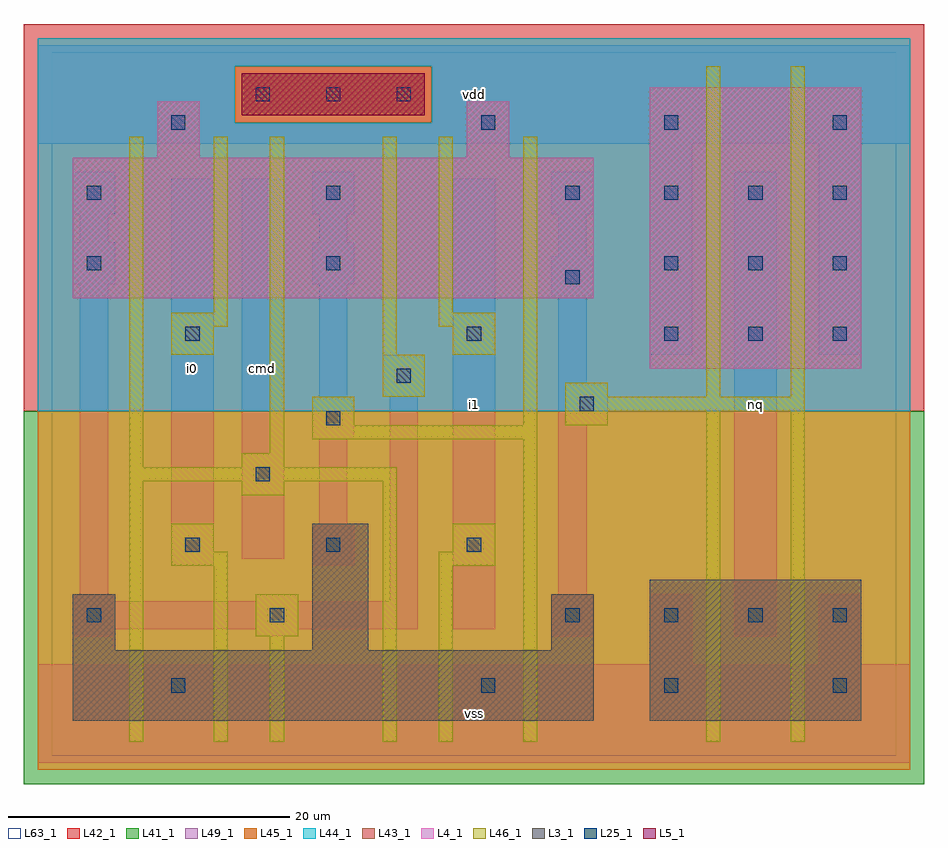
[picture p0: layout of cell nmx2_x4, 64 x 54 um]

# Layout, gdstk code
import gdstk
lib = gdstk.Library(unit=1e-6, precision=1e-09)
def R(c, l, rs):  # rectangles x0, y0, x1, y1
    for r in rs: c.add(gdstk.rectangle(r[:2], r[2:], *l))
def A(c, l, x, y, w, h, nx, ny, dx, dy):  # array of equal rectangles
    R(c, l, [(x+i*dx, y+j*dy, x+i*dx+w, y+j*dy+h) for i in range(nx) for j in range(ny)])
L3_1 = (3, 1)
L4_1 = (4, 1)
L5_1 = (5, 1)
L25_1 = (25, 1)
L41_1 = (41, 1)
L42_1 = (42, 1)
L43_1 = (43, 1)
L44_1 = (44, 1)
L45_1 = (45, 1)
L46_1 = (46, 1)
L49_1 = (49, 1)
L63_1 = (63, 1)

nmx2_x4 = lib.new_cell('nmx2_x4')
R(nmx2_x4, L3_1, [(1.5,2.5,38.5,7.5), (42.5,2.5,57.5,12.5), (1.5,7.5,4.5,11.5), (18.5,7.5,22.5,16.5), (35.5,7.5,38.5,11.5)])
R(nmx2_x4, L4_1, [(42.5,27.5,57.5,47.5), (1.5,32.5,38.5,42.5), (7.5,42.5,10.5,46.5), (29.5,42.5,32.5,46.5)])
R(nmx2_x4, L5_1, [(13.5,45.5,26.5,48.5)])
A(nmx2_x4, L25_1, 43.5, 9.5, 1, 1, 3, 2, 6, 20)
A(nmx2_x4, L25_1, 9.5, 14.5, 1, 1, 3, 1, 10, 0)
A(nmx2_x4, L25_1, 43.5, 34.5, 1, 1, 3, 2, 6, 5)
A(nmx2_x4, L25_1, 2.5, 39.5, 1, 1, 3, 1, 17, 0)
A(nmx2_x4, L25_1, 14.5, 46.5, 1, 1, 3, 1, 5, 0)
R(nmx2_x4, L25_1, [(8.5,4.5,9.5,5.5), (30.5,4.5,31.5,5.5), (43.5,4.5,44.5,5.5), (55.5,4.5,56.5,5.5), (2.5,9.5,3.5,10.5), (15.5,9.5,16.5,10.5), (36.5,9.5,37.5,10.5), (14.5,19.5,15.5,20.5), (19.5,23.5,20.5,24.5), (37.5,24.5,38.5,25.5), (24.5,26.5,25.5,27.5), (9.5,29.5,10.5,30.5), (29.5,29.5,30.5,30.5), (36.5,33.5,37.5,34.5), (2.5,34.5,3.5,35.5), (19.5,34.5,20.5,35.5), (8.5,44.5,9.5,45.5), (30.5,44.5,31.5,45.5), (43.5,44.5,44.5,45.5), (55.5,44.5,56.5,45.5)])
R(nmx2_x4, L41_1, [(-2,-2,62,24.5)])
R(nmx2_x4, L42_1, [(-2,24.5,62,52)])
R(nmx2_x4, L43_1, [(1.5,2.5,38.5,7.5), (42.5,2.5,57.5,12.5), (1.5,7.5,4.5,11.5), (18.5,7.5,22.5,16.5), (35.5,7.5,38.5,11.5), (42.5,27.5,57.5,47.5), (1.5,32.5,38.5,42.5), (7.5,42.5,10.5,46.5), (29.5,42.5,32.5,46.5), (13.5,45.5,26.5,48.5)])
R(nmx2_x4, L44_1, [(-1,24.5,61,45), (-1,45,13,49), (27,45,61,49), (-1,49,61,51)])
R(nmx2_x4, L45_1, [(-1,-1,61,24.5), (13,45,27,49)])
R(nmx2_x4, L46_1, [(5.5,1,6.5,19.5), (11.5,1,12.5,13.5), (15.5,1,16.5,8.5), (23.5,1,24.5,19.5), (27.5,1,28.5,13.5), (33.5,1,34.5,22.5), (46.5,1,47.5,24.5), (52.5,1,53.5,24.5), (14.5,8.5,17.5,11.5), (8.5,13.5,12.5,14.5), (27.5,13.5,31.5,14.5), (8.5,14.5,11.5,16.5), (28.5,14.5,31.5,16.5), (13.5,18.5,16.5,19.5), (5.5,19.5,24.5,20.5), (5.5,20.5,6.5,44), (13.5,20.5,16.5,21.5), (15.5,21.5,16.5,44), (18.5,22.5,34.5,23.5), (18.5,23.5,21.5,25.5), (33.5,23.5,34.5,44), (36.5,23.5,39.5,24.5), (36.5,24.5,53.5,25.5), (23.5,25.5,26.5,28.5), (36.5,25.5,39.5,26.5), (46.5,25.5,47.5,49), (52.5,25.5,53.5,49), (8.5,28.5,11.5,30.5), (23.5,28.5,24.5,44), (28.5,28.5,31.5,30.5), (8.5,30.5,12.5,31.5), (27.5,30.5,31.5,31.5), (11.5,31.5,12.5,44), (27.5,31.5,28.5,44)])
A(nmx2_x4, L49_1, 1.5, 38.5, 3, 3, 3, 1, 17, 0)
R(nmx2_x4, L49_1, [(-1,-0.5,61,6.5), (42.5,6.5,45.5,11.5), (54.5,6.5,57.5,11.5), (1.5,8.5,4.5,9), (14.5,8.5,17.5,9), (35.5,8.5,38.5,11.5), (48.5,8.5,51.5,41.5), (1.5,9,26,11), (28.5,9,31.5,41), (1.5,11,4.5,11.5), (14.5,11,17.5,11.5), (24,11,26,25.5), (2,11.5,4,33.5), (36,11.5,38,23.5), (8.5,13.5,11.5,41), (18.5,13.5,21.5,16.5), (13.5,14,16.5,41), (19,16.5,21,22.5), (18.5,22.5,21.5,25.5), (36,23.5,39.5,26.5), (19,25.5,21,33.5), (23.5,25.5,26.5,28.5), (36,26.5,38,32.5), (42.5,28.5,45.5,43.5), (54.5,28.5,57.5,43.5), (35.5,32.5,38.5,35.5), (1.5,33.5,4.5,36.5), (18.5,33.5,21.5,36.5), (36,35.5,38,38.5), (2,36.5,4,38.5), (19,36.5,21,38.5), (-1,43.5,61,50.5)])
R(nmx2_x4, L63_1, [(0,0,60,50)])
nmx2_x4.add(gdstk.Label('i0', (10,27.5), layer=49, texttype=1))
nmx2_x4.add(gdstk.Label('i0', (10,27.5), layer=49, texttype=1))
nmx2_x4.add(gdstk.Label('cmd', (15,27.5), layer=49, texttype=1))
nmx2_x4.add(gdstk.Label('cmd', (15,27.5), layer=49, texttype=1))
nmx2_x4.add(gdstk.Label('vss', (30,3), layer=49, texttype=1))
nmx2_x4.add(gdstk.Label('vss', (30,3), layer=49, texttype=1))
nmx2_x4.add(gdstk.Label('i1', (30,25), layer=49, texttype=1))
nmx2_x4.add(gdstk.Label('i1', (30,25), layer=49, texttype=1))
nmx2_x4.add(gdstk.Label('vdd', (30,47), layer=49, texttype=1))
nmx2_x4.add(gdstk.Label('vdd', (30,47), layer=49, texttype=1))
nmx2_x4.add(gdstk.Label('nq', (50,25), layer=49, texttype=1))
nmx2_x4.add(gdstk.Label('nq', (50,25), layer=49, texttype=1))

lib.write_gds('nmx2_x4.gds')
